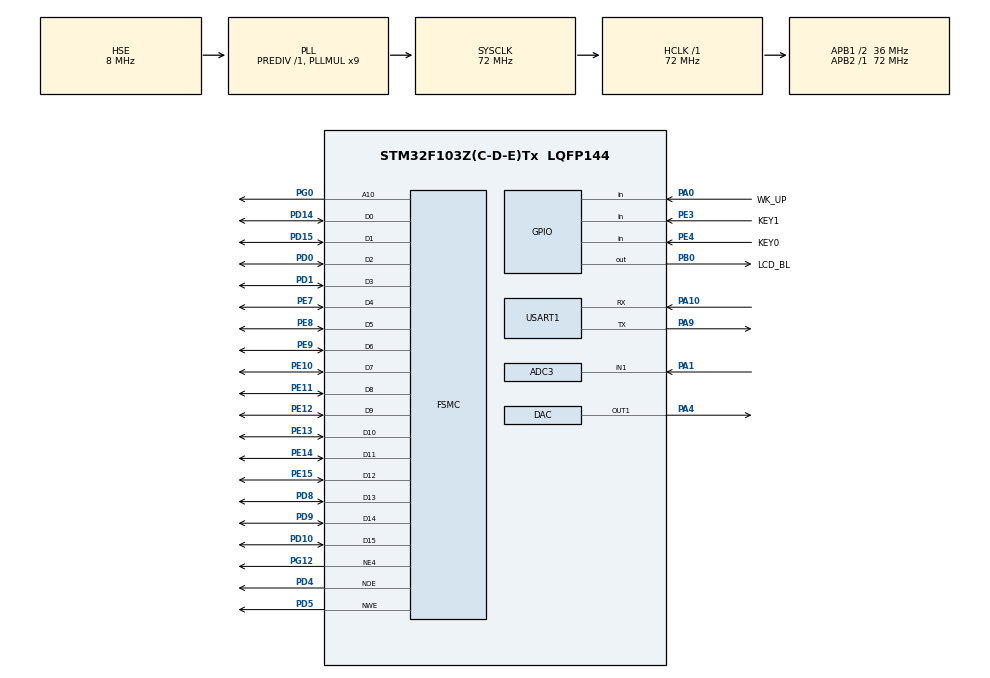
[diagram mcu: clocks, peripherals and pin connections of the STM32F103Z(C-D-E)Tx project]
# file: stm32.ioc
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ADC3.Channel-0\#ChannelRegularConversion=ADC_CHANNEL_1
ADC3.NbrOfConversionFlag=1
ADC3.Rank-0\#ChannelRegularConversion=1
ADC3.SamplingTime-0\#ChannelRegularConversion=ADC_SAMPLETIME_239CYCLES_5
DAC.DAC_OutputBuffer=DAC_OUTPUTBUFFER_DISABLE
FSMC.AddressSetupTime1=0
FSMC.DataSetupTime1=15
FSMC.ExtendedAddressSetupTime1=0
FSMC.ExtendedDataSetupTime1=1
FSMC.ExtendedMode1=FSMC_EXTENDED_MODE_ENABLE
Mcu.Family=STM32F1
Mcu.Name=STM32F103Z(C-D-E)Tx
Mcu.Package=LQFP144
NVIC.PriorityGroup=NVIC_PRIORITYGROUP_4
NVIC.TIM6_IRQn=true\:3\:0\:true\:false\:true\:true\:true\:true
OSC_IN.Mode=HSE-External-Oscillator
OSC_IN.Signal=RCC_OSC_IN
OSC_OUT.Mode=HSE-External-Oscillator
OSC_OUT.Signal=RCC_OSC_OUT
PA0-WKUP.GPIO_Label=WK_UP
PA0-WKUP.GPIO_PuPd=GPIO_PULLDOWN
PA0-WKUP.Signal=GPIO_Input
PA1.Signal=ADCx_IN1
PA10.Mode=Asynchronous
PA10.Signal=USART1_RX
PA13.Mode=Serial_Wire
PA13.Signal=SYS_JTMS-SWDIO
PA14.Mode=Serial_Wire
PA14.Signal=SYS_JTCK-SWCLK
PA4.Signal=COMP_DAC1_group
PA9.Mode=Asynchronous
PA9.Signal=USART1_TX
PB0.GPIO_Label=LCD_BL
PB0.GPIO_PuPd=GPIO_PULLUP
PB0.GPIO_Speed=GPIO_SPEED_FREQ_HIGH
PB0.PinState=GPIO_PIN_SET
PB0.Signal=GPIO_Output
PC14-OSC32_IN.Mode=LSE-External-Oscillator
PC14-OSC32_IN.Signal=RCC_OSC32_IN
PC15-OSC32_OUT.Mode=LSE-External-Oscillator
PC15-OSC32_OUT.Signal=RCC_OSC32_OUT
PD0.Signal=FSMC_D2_DA2
PD1.Signal=FSMC_D3_DA3
PD10.Signal=FSMC_D15_DA15
PD14.Signal=FSMC_D0_DA0
PD15.Signal=FSMC_D1_DA1
PD4.Signal=FSMC_NOE
PD5.Signal=FSMC_NWE
PD8.Signal=FSMC_D13_DA13
PD9.Signal=FSMC_D14_DA14
PE10.Signal=FSMC_D7_DA7
PE11.Signal=FSMC_D8_DA8
PE12.Signal=FSMC_D9_DA9
PE13.Signal=FSMC_D10_DA10
PE14.Signal=FSMC_D11_DA11
PE15.Signal=FSMC_D12_DA12
PE3.GPIO_Label=KEY1
PE3.GPIO_PuPd=GPIO_PULLUP
PE3.Signal=GPIO_Input
PE4.GPIO_Label=KEY0
PE4.GPIO_PuPd=GPIO_PULLUP
PE4.Signal=GPIO_Input
PE7.Signal=FSMC_D4_DA4
PE8.Signal=FSMC_D5_DA5
PE9.Signal=FSMC_D6_DA6
PG0.Signal=FSMC_A10
PG12.Mode=NorPsramChipSelect4_1
PG12.Signal=FSMC_NE4
ProjectManager.HeapSize=0x200
ProjectManager.StackSize=0x400
ProjectManager.TargetToolchain=CMake
RCC.ADCPresc=RCC_ADCPCLK2_DIV6
RCC.AHBFreq_Value=72000000
RCC.APB1CLKDivider=RCC_HCLK_DIV2
RCC.APB1Freq_Value=36000000
RCC.APB1TimFreq_Value=72000000
RCC.APB2Freq_Value=72000000
RCC.APB2TimFreq_Value=72000000
RCC.HCLKFreq_Value=72000000
RCC.PLLMUL=RCC_PLL_MUL9
RCC.PLLSourceVirtual=RCC_PLLSOURCE_HSE
RCC.SYSCLKFreq_VALUE=72000000
RCC.SYSCLKSource=RCC_SYSCLKSOURCE_PLLCLK
RCC.USBFreq_Value=72000000
SH.ADCx_IN1.0=ADC3_IN1,IN1
SH.COMP_DAC1_group.0=DAC_OUT1,DAC_OUT1
SH.FSMC_A10.0=FSMC_A10,A10_1
SH.FSMC_D0_DA0.0=FSMC_D0,16b-d1
SH.FSMC_D10_DA10.0=FSMC_D10,16b-d1
SH.FSMC_D11_DA11.0=FSMC_D11,16b-d1
SH.FSMC_D12_DA12.0=FSMC_D12,16b-d1
SH.FSMC_D13_DA13.0=FSMC_D13,16b-d1
SH.FSMC_D14_DA14.0=FSMC_D14,16b-d1
SH.FSMC_D15_DA15.0=FSMC_D15,16b-d1
SH.FSMC_D1_DA1.0=FSMC_D1,16b-d1
SH.FSMC_D2_DA2.0=FSMC_D2,16b-d1
SH.FSMC_D3_DA3.0=FSMC_D3,16b-d1
SH.FSMC_D4_DA4.0=FSMC_D4,16b-d1
SH.FSMC_D5_DA5.0=FSMC_D5,16b-d1
SH.FSMC_D6_DA6.0=FSMC_D6,16b-d1
SH.FSMC_D7_DA7.0=FSMC_D7,16b-d1
SH.FSMC_D8_DA8.0=FSMC_D8,16b-d1
SH.FSMC_D9_DA9.0=FSMC_D9,16b-d1
SH.FSMC_NOE.0=FSMC_NOE,Lcd1
SH.FSMC_NWE.0=FSMC_NWE,Lcd1
TIM6.Prescaler=3600-1
USART1.VirtualMode=VM_ASYNC
VP_TIM6_VS_ClockSourceINT.Mode=Enable_Timer
board=custom

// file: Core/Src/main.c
/* USER CODE BEGIN Header */
/**
  ******************************************************************************
  * @file           : main.c
  * @brief          : Main program body
  ******************************************************************************
  * @attention
  *
  * Copyright (c) 2025 STMicroelectronics.
  * All rights reserved.
  *
  * This software is licensed under terms that can be found in the LICENSE file
  * in the root directory of this software component.
  * If no LICENSE file comes with this software, it is provided AS-IS.
  *
  ******************************************************************************
  */
/* USER CODE END Header */
#include "main.h"
#include "adc.h"
#include "dac.h"
#include "tim.h"
#include "usart.h"
#include "gpio.h"
#include "fsmc.h"

/* USER CODE BEGIN Includes */
#include "oscilloscope.h"
#include "buttons.h"
#include "lcd.h"
#include "delay.h"
#include "touch.h"
#include <stdio.h>
/* USER CODE END Includes */

void SystemClock_Config(void);

/* USER CODE BEGIN 0 */
/* DAC波形控制参数 */
uint16_t dac_amplitude = 1800;
uint16_t dac_offset = 2048;
uint16_t dac_frequency_divider = 8;
uint16_t dac_min_value = 200;
uint16_t dac_max_value = 3800;

volatile uint8_t timer_flag = 0;

void HAL_TIM_PeriodElapsedCallback(TIM_HandleTypeDef *htim)
{
  if(htim->Instance == TIM6)
  {
    timer_flag = 1;
  }
}
/* USER CODE END 0 */

int main(void)
{

  /* USER CODE BEGIN 1 */
  uint16_t dac_value = 0;
  uint32_t adc_value = 0;
  uint16_t dac_step = 0;
  uint8_t direction = 1;  /* DAC输出方向: 1=上升, 0=下降 */
  /* USER CODE END 1 */

  /* MCU Configuration--------------------------------------------------------*/

  /* Reset of all peripherals, Initializes the Flash interface and the Systick. */
  HAL_Init();

  /* Configure the system clock */
  SystemClock_Config();

  /* USER CODE BEGIN SysInit */
  delay_init(72);
  /* USER CODE END SysInit */

  /* Initialize all configured peripherals */
  MX_GPIO_Init();
  MX_ADC3_Init();
  MX_DAC_Init();
  MX_FSMC_Init();
  MX_TIM6_Init();
  MX_USART1_UART_Init();
  /* USER CODE BEGIN 2 */

  /* 初始化系统延时 */
  delay_ms(100);

  /* 初始化LCD */
  lcd_init();

  /* 初始化SPI触摸屏 */
  touch_config_t touch_cfg = GT968_SPI_CONFIG;  /* 使用SPI接口的GT968 */

  if(touch_init(&touch_cfg)) {
    printf("SPI Touch screen initialized successfully\\r\\n");
  } else {
    printf("SPI Touch screen initialization failed, using key simulation\\r\\n");
  }

  printf("Touch control: Real touch + KEY simulation\\r\\n");
  printf("KEY0: Reset, KEY1: Test buttons\\r\\n");

  /* 启动DAC */
  HAL_DAC_Start(&hdac, DAC_CHANNEL_1);

  /* 显示初始界面 */
  lcd_clear(WHITE);
  lcd_show_string(120, 20, 300, 24, 24, "STM32 Oscilloscope", BLACK);
  lcd_show_string(140, 50, 200, 20, 20, "Auto 2-Period Sync", BLACK);

  /* 显示控制说明 */
  lcd_show_string(50, 90, 200, 16, 16, "KEY0: Reset  KEY1: Test", GRAY);
  lcd_show_string(50, 110, 200, 16, 16, "Connect DAC to ADC", GRAY);
  lcd_show_string(50, 130, 200, 16, 16, "Touch buttons for control", GRAY);

  /* 初始化波形显示区域 */
  init_waveform_display();

  /* 绘制虚拟按钮 */
  draw_virtual_buttons();

  /* 启动定时器 */
  HAL_TIM_Base_Start_IT(&htim6);

  printf("DAC/ADC Test Started\r\n");

  /* USER CODE END 2 */

  /* Infinite loop */
  /* USER CODE BEGIN WHILE */
  while (1)
  {
    /* 检查定时器标志 */
    if(timer_flag)
    {
      timer_flag = 0;

      /* 生成DAC输出 - 可调节三角波 */
      static uint16_t dac_freq_counter = 0;

      /* 频率控制 - 只有当计数器达到分频值时才更新DAC */
      if(++dac_freq_counter >= dac_frequency_divider) {
        dac_freq_counter = 0;

        /* 计算当前的幅度范围 */
        dac_min_value = dac_offset - dac_amplitude/2;
        dac_max_value = dac_offset + dac_amplitude/2;

        /* 限制范围在DAC有效范围内 */
        if(dac_min_value < 100) dac_min_value = 100;
        if(dac_max_value > 3900) dac_max_value = 3900;

        /* 计算动态步长，确保固定的三角波周期 */
        uint16_t amplitude_range = dac_max_value - dac_min_value;
        uint16_t triangle_steps = 100;  /* 固定100步完成一个半周期 */
        uint16_t dynamic_step = amplitude_range / triangle_steps;
        if(dynamic_step < 1) dynamic_step = 1;  /* 最小步长 */

        if(direction)
        {
          dac_step += dynamic_step;
          if(dac_step >= dac_max_value)
          {
            dac_step = dac_max_value;
            direction = 0;
          }
        }
        else
        {
          dac_step -= dynamic_step;
          if(dac_step <= dac_min_value)
          {
            dac_step = dac_min_value;
            direction = 1;
          }
        }
      }

      /* 设置DAC输出值 */
      dac_value = dac_step;
      HAL_DAC_SetValue(&hdac, DAC_CHANNEL_1, DAC_ALIGN_12B_R, dac_value);

      /* 读取ADC值 (单次采样，最高响应速度) */
      adc_value = adc_get_result(ADC_CHANNEL_1);

      /* 周期检测和时基自动调整 */
      detect_period_and_adjust_timebase(dac_value);

      /* 绘制波形点 - 真正的示波器效果 */
      draw_waveform_point(dac_value, adc_value);

      /* 显示基本信息 (每50次更新一次) */
      static uint16_t info_counter = 0;
      if(++info_counter >= 50) {
        info_counter = 0;

        uint16_t info_y = 650;

        /* 清除信息显示区域 */
        lcd_fill(10, info_y - 5, 470, info_y + 40, WHITE);

        /* 显示基本数值 */
        char info_str[50];
        sprintf(info_str, "DAC:%d ADC:%lu FreqDiv:%d", dac_value, adc_value, dac_frequency_divider);
        lcd_show_string(20, info_y, 400, 16, 16, info_str, BLACK);

        /* 重绘按钮 */
        draw_virtual_buttons();
      }

      /* 串口输出数据 */
      printf("DAC:%d ADC:%lu\r\n", dac_value, adc_value);
    }

    /* 检查KEY0 - 切换参数 */
    if(HAL_GPIO_ReadPin(KEY0_GPIO_Port, KEY0_Pin) == GPIO_PIN_RESET)
    {
      delay_ms(20);  /* 消抖 */
      if(HAL_GPIO_ReadPin(KEY0_GPIO_Port, KEY0_Pin) == GPIO_PIN_RESET)
      {
        select_next_button();
        while(HAL_GPIO_ReadPin(KEY0_GPIO_Port, KEY0_Pin) == GPIO_PIN_RESET); /* 等待按键释放 */
      }
    }

    /* 检查KEY1 - 调整参数值 */
    if(HAL_GPIO_ReadPin(KEY1_GPIO_Port, KEY1_Pin) == GPIO_PIN_RESET)
    {
      delay_ms(20);  /* 消抖 */
      if(HAL_GPIO_ReadPin(KEY1_GPIO_Port, KEY1_Pin) == GPIO_PIN_RESET)
      {
        press_selected_button();
        while(HAL_GPIO_ReadPin(KEY1_GPIO_Port, KEY1_Pin) == GPIO_PIN_RESET); /* 等待按键释放 */
      }
    }

    /* 简化后不再需要触摸检测，只使用实体按键 */

    /* KEY1功能已移除，专注于自动两周期显示 */

    delay_ms(10);  /* 主循环延时 */
    /* USER CODE END WHILE */

  }
}

void SystemClock_Config(void)
{
  RCC_OscInitTypeDef RCC_OscInitStruct = {0};
  RCC_ClkInitTypeDef RCC_ClkInitStruct = {0};
  RCC_PeriphCLKInitTypeDef PeriphClkInit = {0};

  /** Initializes the RCC Oscillators according to the specified parameters
  * in the RCC_OscInitTypeDef structure.
  */
  RCC_OscInitStruct.OscillatorType = RCC_OSCILLATORTYPE_HSE;
  RCC_OscInitStruct.HSEState = RCC_HSE_ON;
  RCC_OscInitStruct.HSEPredivValue = RCC_HSE_PREDIV_DIV1;
  RCC_OscInitStruct.HSIState = RCC_HSI_ON;
  RCC_OscInitStruct.PLL.PLLState = RCC_PLL_ON;
  RCC_OscInitStruct.PLL.PLLSource = RCC_PLLSOURCE_HSE;
  RCC_OscInitStruct.PLL.PLLMUL = RCC_PLL_MUL9;
  if (HAL_RCC_OscConfig(&RCC_OscInitStruct) != HAL_OK)
  {
    Error_Handler();
  }

  /** Initializes the CPU, AHB and APB buses clocks
  */
  RCC_ClkInitStruct.ClockType = RCC_CLOCKTYPE_HCLK|RCC_CLOCKTYPE_SYSCLK
                              |RCC_CLOCKTYPE_PCLK1|RCC_CLOCKTYPE_PCLK2;
  RCC_ClkInitStruct.SYSCLKSource = RCC_SYSCLKSOURCE_PLLCLK;
  RCC_ClkInitStruct.AHBCLKDivider = RCC_SYSCLK_DIV1;
  RCC_ClkInitStruct.APB1CLKDivider = RCC_HCLK_DIV2;
  RCC_ClkInitStruct.APB2CLKDivider = RCC_HCLK_DIV1;

  if (HAL_RCC_ClockConfig(&RCC_ClkInitStruct, FLASH_LATENCY_2) != HAL_OK)
  {
    Error_Handler();
  }
  PeriphClkInit.PeriphClockSelection = RCC_PERIPHCLK_ADC;
  PeriphClkInit.AdcClockSelection = RCC_ADCPCLK2_DIV6;
  if (HAL_RCCEx_PeriphCLKConfig(&PeriphClkInit) != HAL_OK)
  {
    Error_Handler();
  }
}

void Error_Handler(void)
{
  __disable_irq();
  while (1)
  {
  }
}
